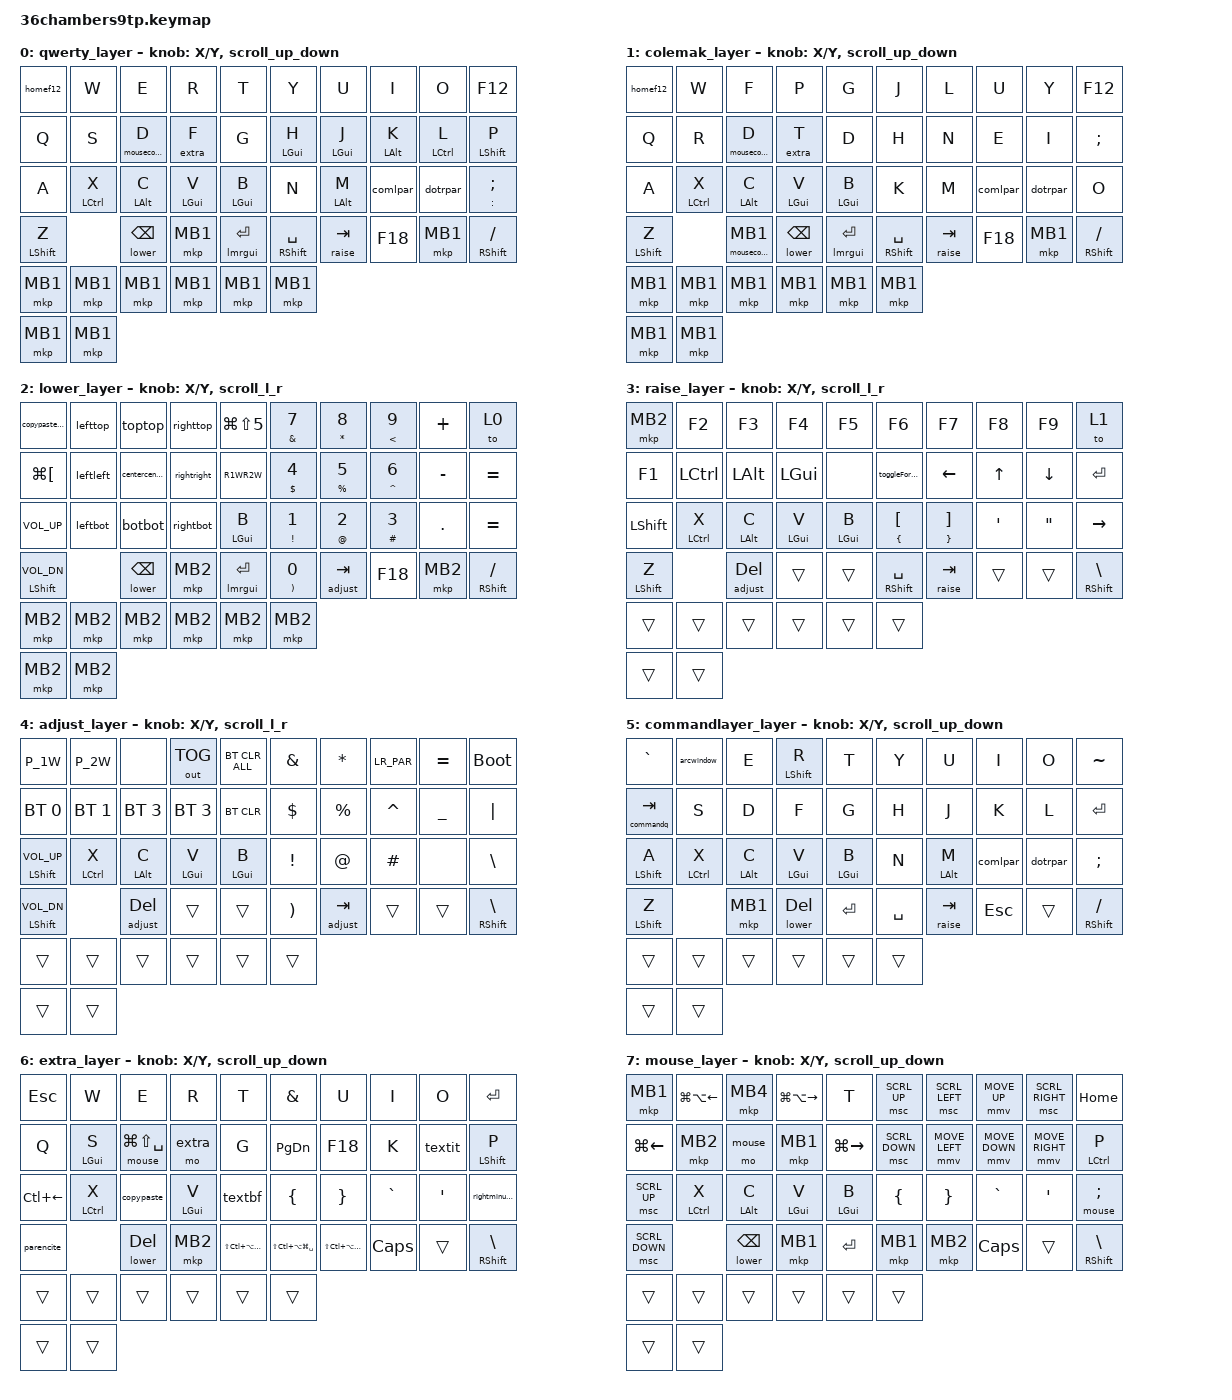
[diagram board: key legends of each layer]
/*
 * Copyright (c) 2020 The ZMK Contributors
 *;
 * SPDX-License-Identifier: MIT


west build -d build/369tpright -p -b xiao_ble//zmk -- -DSHIELD=36chambers9tp_right -DZMK_EXTRA_MODULES="/workspaces/zmk/app/kb_zmk_ps2_mouse_trackpoint_driver-main"
west build -d build/369tpleft -p -b xiao_ble//zmk -- -DSHIELD=36chambers9tp_left -DZMK_EXTRA_MODULES="/workspaces/zmk/app/kb_zmk_ps2_mouse_trackpoint_driver-main"

west build -d build/xiao_ble_reset -p -b xiao_ble//zmk -- -DSHIELD=settings_reset

docker cp gracious_gates:/workspaces/zmk/app/build/369tpleft/zephyr/zmk.uf2 "/Users/song100/Library/Mobile Documents/com~apple~CloudDocs/Keyboard/36firmware/36chambers9tp_left.uf2"
docker cp gracious_gates:/workspaces/zmk/app/build/369tpright/zephyr/zmk.uf2 "/Users/song100/Library/Mobile Documents/com~apple~CloudDocs/Keyboard/36firmware/36chambers9tp_right.uf2"

docker cp gracious_gates:/workspaces/zmk/app/build/xiao_ble_reset/zephyr/zmk.uf2 "/Users/song100/Library/Mobile Documents/com~apple~CloudDocs/Keyboard/36firmware/xiao_ble_reset.uf2"
 */
#include <behaviors.dtsi>w
#include <dt-bindings/zmk/keys.h>
#include <dt-bindings/zmk/bt.h>
#include <dt-bindings/zmk/outputs.h>
#include <dt-bindings/zmk/mouse.h>        
#include <dt-bindings/zmk/pointing.h>

#define qwerty 0
#define colemnk 1
#define lower 2
#define raise 3
#define adjust 4
#define commandlayer 5
#define extra 6
#define mouse 7
// #define cmtoqw 6
// #define lock 7
// #define locklow 8
// #define unlock 9
// #define lockhigh 10/
#define ZMK_POINTING_DEFAULT_MOVE_VAL 3500  // default: 600
#define ZMK_POINTING_DEFAULT_SCRL_VAL 140

&mt {
    tapping-term-ms = <200>;
    flavor = "hold-preferred";
};

&lt {
   flavor = "hold-preferred";
};

/{ // <---[[root node]]    
    macros {
        // |XteZB8Yrdc SBRzu1UX
        P_1W: P_1W {
            label = "P_1W";
            compatible = "zmk,behavior-macro";
            #binding-cells = <0>;
            wait-ms = <0>;
            tap-ms = <0>;
            bindings
                = <&macro_tap &kp PIPE>
                , <&macro_press &kp LSHFT>
                , <&macro_tap &kp X>
                , <&macro_release &kp LSHFT>
                , <&macro_tap &kp T &kp E>
                , <&macro_press &kp LSHFT>
                , <&macro_tap &kp Z &kp B>
                , <&macro_release &kp LSHFT>
                , <&macro_tap &kp N8>
                , <&macro_press &kp LSHFT>
                , <&macro_tap &kp Y>
                , <&macro_release &kp LSHFT>
                , <&macro_tap &kp R &kp D &kp C &kp SPACE>
                , <&macro_press &kp LSHFT>
                , <&macro_tap &kp S &kp B &kp R>
                , <&macro_press &kp LSHFT>
                , <&macro_tap &kp Z &kp U &kp 1>
                , <&macro_press &kp LSHFT>
                , <&macro_tap &kp U &kp X>
                , <&macro_release &kp LSHFT>
                ;
        };
        P_2W: P_2W {
            label = "P_2W";
            compatible = "zmk,behavior-macro";
            #binding-cells = <0>;
            wait-ms = <0>;
            tap-ms = <0>;
            bindings
                = <&macro_tap &kp PIPE>
                , <&macro_press &kp LSHFT>
                , <&macro_tap &kp X>
                , <&macro_release &kp LSHFT>
                , <&macro_tap &kp G &kp F>
                , <&macro_press &kp LSHFT>
                , <&macro_tap &kp Z &kp B>
                , <&macro_release &kp LSHFT>
                , <&macro_tap &kp N8>
                , <&macro_press &kp LSHFT>
                , <&macro_tap &kp J>
                , <&macro_release &kp LSHFT>
                , <&macro_tap &kp P &kp S &kp C &kp SPACE>
                , <&macro_press &kp LSHFT>
                , <&macro_tap &kp R &kp B &kp P>
                , <&macro_press &kp LSHFT>
                , <&macro_tap &kp Z &kp L &kp 1>
                , <&macro_press &kp LSHFT>
                , <&macro_tap &kp L &kp X>
                , <&macro_release &kp LSHFT>
                ;
        };
        R_1W: R_1W {
            label = "R_1W";
            compatible = "zmk,behavior-macro";
            #binding-cells = <0>;
            wait-ms = <0>;
            tap-ms = <0>;
            bindings
                = <&macro_press &kp LSHFT>
                , <&macro_tap &kp S>
                , <&macro_release &kp LSHFT>
                , <&macro_tap &kp H &kp A &kp W &kp U &kp A &kp J &kp Y &kp D &kp S &kp N>
                ;
        };
        R_2W: R_2W {
            label = "R_2W";
            compatible = "zmk,behavior-macro";
            #binding-cells = <0>;
            wait-ms = <5>;
            tap-ms = <10>;
            bindings
                = <&macro_tap &kp PIPE>
                , <&macro_press &kp LSHFT>
                , <&macro_tap &kp X>
                , <&macro_release &kp LSHFT>
                , <&macro_tap &kp T &kp E>
                , <&macro_press &kp LSHFT>
                , <&macro_tap &kp Z &kp B>
                , <&macro_release &kp LSHFT>
                , <&macro_tap &kp N8>
                , <&macro_press &kp LSHFT>
                , <&macro_tap &kp Y>
                , <&macro_release &kp LSHFT>
                , <&macro_tap &kp R &kp D &kp C &kp SPACE>
                , <&macro_press &kp LSHFT>
                , <&macro_tap &kp S &kp B &kp R>
                , <&macro_release &kp LSHFT>
                , <&macro_tap &kp Z &kp U &kp 1>
                ;
        };
        textit: textit {
            label = "textit";
            compatible = "zmk,behavior-macro";
            #binding-cells = <0>;
            wait-ms = <20>;
            tap-ms = <10>;
            bindings
                = <&macro_tap 
                &kp LBRC &kp LEFT &kp LEFT
                &kp BSLH &kp F &kp K &kp X &kp F &kp L &kp F>
                ,<&macro_press &kp LALT>
                ,<&macro_tap &kp RIGHT &kp RIGHT>
                ,<&macro_release &kp LALT>
                ;
        };
        textbf: textbf {
            label = "textbf";
            compatible = "zmk,behavior-macro";
            #binding-cells = <0>;
            wait-ms = <20>;
            tap-ms = <10>;
            bindings
                = <&macro_tap 
                &kp LBRC &kp LEFT &kp LEFT
                &kp BSLH &kp F &kp K &kp X &kp F &kp B &kp E>
                ,<&macro_press 
                &kp LALT>
                ,<&macro_tap 
                &kp RIGHT &kp RIGHT>
                ,<&macro_release 
                &kp LALT>
                ;
        };
        LR_PAR: LR_PAR {
            label = "LR_PAR";
            compatible = "zmk,behavior-macro";
            #binding-cells = <0>;
            wait-ms = <40>;
            tap-ms = <40>;
            bindings
                = <&macro_press &kp LSHFT>
                , <&macro_tap &kp N9 &kp N0>
                , <&macro_release &kp LSHFT>
                , <&macro_tap &kp LEFT>
                ;
        };
        lmrgui: lmrgui {
            label = "lmrgui";
            compatible = "zmk,behavior-macro";
            wait-ms = <0>;
            tap-ms = <0>;
            #binding-cells = <0>;
            bindings
                = <&macro_press &mo commandlayer &kp RGUI>
                , <&macro_pause_for_release>
                , <&macro_release &mo commandlayer &kp RGUI>
                ;
        };
        mousecombo: mousecombo {
            label = "mousecombo";
            compatible = "zmk,behavior-macro";
            wait-ms = <0>;
            tap-ms = <0>;
            #binding-cells = <0>;
            bindings
                = <&macro_press &kp LGUI &kp LSHFT> 
                , <&macro_tap &kp SPACE>
                , <&macro_release &kp LGUI &kp LSHFT>
                , <&macro_press &mo mouse>
                , <&macro_pause_for_release>
                , <&macro_release &mo mouse>
                ;
        };
        parencite: parencite {
            label = "parencite";
            compatible = "zmk,behavior-macro";
            #binding-cells = <0>;
            wait-ms = <10>;
            tap-ms = <20>;
            bindings
                = <&macro_tap &kp BSLH &kp R &kp A &kp S &kp K &kp J &kp C &kp L &kp F &kp K>
                , <&macro_tap &kp LBKT &kp RBKT  &kp LBRC &kp RBRC &kp LEFT &kp LEFT &kp LBKT &kp RBKT &kp RIGHT &kp RIGHT>
                ;
        };
        // \(\beta\)
        beta: beta {
            label = "beta";
            compatible = "zmk,behavior-macro";
            #binding-cells = <0>;
            wait-ms = <10>;
            tap-ms = <30>;
            bindings
                = <&macro_tap &kp BSLH &kp LPAR &kp BSLH &kp B &kp K &kp J &kp A &kp BSLH &kp RPAR>
                ;
        };
        // ($R^2_{adj}$
        radjsq: radjsq {
            label = "radjsq";
            compatible = "zmk,behavior-macro";
            #binding-cells = <0>;
            wait-ms = <10>;
            tap-ms = <30>;
            bindings
                = <&macro_tap &kp LPAR &kp DLLR>
                , <&macro_press &kp RSHFT> 
                , <&kp S>
                , <&macro_release &kp RSHFT>
                , <&kp AMPS &kp UNDER &kp LBRC &kp A &kp G &kp Y &kp RBRC &kp DLLR>
                ;
        };
        topthirds: topthirds {
            label = "topthirds";
            compatible = "zmk,behavior-macro";
            #binding-cells = <0>;
            wait-ms = <10>;
            tap-ms = <30>;
            bindings
                = <&macro_press &kp LSHFT>
                , <&macro_press &kp LCTL>
                , <&macro_press &kp LALT>
                , <&macro_press &kp LGUI>
                , <&macro_tap &kp N8 &kp F4>
                , <&macro_release &kp LSHFT>
                , <&macro_release &kp LCTL>
                , <&macro_release &kp LALT>
                , <&macro_release &kp LGUI>
                ;
        };
        botthirds: botthirds {
            label = "botthirds";
            compatible = "zmk,behavior-macro";
            #binding-cells = <0>;
            wait-ms = <10>;
            tap-ms = <30>;
            bindings
                = <&macro_press &kp LSHFT>
                , <&macro_press &kp LCTL>
                , <&macro_press &kp LALT>
                , <&macro_press &kp LGUI>
                , <&macro_tap &kp N5 &kp F6>
                , <&macro_release &kp LSHFT>
                , <&macro_release &kp LCTL>
                , <&macro_release &kp LALT>
                , <&macro_release &kp LGUI>
                ;
        };
        centerthirds: centerthirds {
            label = "centerthirds";
            compatible = "zmk,behavior-macro";
            #binding-cells = <0>;
            wait-ms = <10>;
            tap-ms = <30>;
            bindings
                = <&macro_press &kp LSHFT>
                , <&macro_press &kp LCTL>
                , <&macro_press &kp LALT>
                , <&macro_press &kp LGUI>
                , <&macro_tap &kp N2 &kp F5>
                , <&macro_release &kp LSHFT>
                , <&macro_release &kp LCTL>
                , <&macro_release &kp LALT>
                , <&macro_release &kp LGUI>
                ;
        };
        leftthirds: leftthirds {
            label = "leftthirds";
            compatible = "zmk,behavior-macro";
            #binding-cells = <0>;
            wait-ms = <10>;
            tap-ms = <30>;
            bindings
                = <&macro_press &kp LSHFT>
                , <&macro_press &kp LCTL>
                , <&macro_press &kp LALT>
                , <&macro_press &kp LGUI>
                , <&macro_tap &kp N1 &kp M>
                , <&macro_release &kp LSHFT>
                , <&macro_release &kp LCTL>
                , <&macro_release &kp LALT>
                , <&macro_release &kp LGUI>
                ;
        };
        rightthirds: rightthirds {
            label = "rightthirds";
            compatible = "zmk,behavior-macro";
            #binding-cells = <0>;
            wait-ms = <10>;
            tap-ms = <30>;
            bindings
                = <&macro_press &kp LSHFT>
                , <&macro_press &kp LCTL>
                , <&macro_press &kp LALT>
                , <&macro_press &kp LGUI>
                , <&macro_tap &kp N3 &kp M>
                , <&macro_release &kp LSHFT>
                , <&macro_release &kp LCTL>
                , <&macro_release &kp LALT>
                , <&macro_release &kp LGUI>
                ;
        };
        rightminusgt: rightminusgt {
            label = "rightminusgt";
            compatible = "zmk,behavior-macro";
            #binding-cells = <0>;
            wait-ms = <10>;
            tap-ms = <30>;
            bindings
                = <&macro_tap &kp MINUS &kp GT>
                ;
        };
        copypastelink: copypastelink {
            label = "copypastelink";
            compatible = "zmk,behavior-macro";
            #binding-cells = <0>;
            wait-ms = <10>;
            tap-ms = <30>;
            bindings
                = <&macro_press &kp LGUI>
                , <&macro_tap &kp U &kp C &kp TAB>
                , <&macro_release &kp LGUI>
                , <&macro_press &kp LGUI>
                , <&macro_tap &kp F>
                , <&macro_wait_time 50>
                , <&macro_tap &kp V>
                , <&macro_release &kp LGUI>
                , <&macro_tap &kp RET>
                ;
        };
        ultimateback: ultimateback {
            label = "ultimateback";
            compatible = "zmk,behavior-macro";
            #binding-cells = <0>;
            wait-ms = <0>;
            tap-ms = <30>;
            bindings
                = <&macro_press &kp LGUI>
                , <&macro_tap &kp LBKT>
                , <&macro_release &kp LGUI>
                , <&macro_tap &kp K_BACK>
                ;
        };
        commandq: commandq {
            label = "commandq";
            compatible = "zmk,behavior-macro";
            #binding-cells = <0>;
            wait-ms = <0>;
            tap-ms = <30>;
            bindings
                = <&macro_press &kp LGUI>
                , <&macro_tap &kp Q>
                , <&macro_release &kp LGUI>
                ;
        };
    };
    behaviors {
        gresc: grave_escape {
            compatible = "zmk,behavior-mod-morph";
            #binding-cells = <0>;
            bindings = <&kp ESC>, <&kp GRAVE>;
            mods = <(MOD_RGUI|MOD_LSFT|MOD_LALT|MOD_LCTL)>;
        };
        mnl: mouse_n_language {
            compatible = "zmk,behavior-hold-tap";
            label = "MOUSE_MODS";
            #binding-cells = <2>;
            tapping-term-ms = <350>;
            quick-tap-ms = <0>;
            flavor = "tap-preferred";
            bindings = <&mo>, <&kp>;
        };
        bhm: balanced_homerow_mods {
            compatible = "zmk,behavior-hold-tap";
            label = "HOMEROW_MODS";
            #binding-cells = <2>;
            tapping-term-ms = <250>;    // <---[[moderate duration]]
            quick-tap-ms = <0>;
            flavor = "balanced";
            bindings = <&kp>, <&kp>;
        };
        tns: tap_number_symbols {
            compatible = "zmk,behavior-hold-tap";
            label = "NUM_SYMBOLS";
            #binding-cells = <2>;
            tapping-term-ms = <250>;    // <---[[moderate duration]]
            quick-tap-ms = <0>;
            flavor = "tap-preferred";
            bindings = <&kp>, <&kp>;
        };//the following two go together
        comlpar: comma_parenthesis {
            compatible = "zmk,behavior-mod-morph";
            label = "COMMA_LPARENTH";
            #binding-cells = <0>;
            bindings = <&kp COMMA>, <&kp LPAR>;
            mods = <(MOD_RSFT)>;
        };
        dotrpar: dot_parenthesis {
            compatible = "zmk,behavior-mod-morph";
            label = "DOT_RPARENTH";
            #binding-cells = <0>;
            bindings = <&kp DOT>, <&kp RPAR>;
            mods = <(MOD_RSFT)>;
        };//the following two go together        
        comlrpar: comma_parentheses {
            compatible = "zmk,behavior-mod-morph";
            label = "COMMA_BOTHPARENTH";
            #binding-cells = <0>;
            bindings = <&kp COMMA>, <&LR_PAR>;
            mods = <(MOD_RSFT)>;
        };
        dotqmark: dot_qmark {
            compatible = "zmk,behavior-mod-morph";
            label = "DOT_QMARK";
            #binding-cells = <0>;
            bindings = <&kp DOT>, <&kp QMARK>;
            mods = <(MOD_RSFT)>;
        };
        // qtab: q_cmdandtab {
        //     compatible = "zmk,behavior-mod-morph";
        //     label = "Q_CMDANDTAB";
        //     #binding-cells = <0>;
        //     bindings = <&kp Q>, <&kp LG(TAB)>;
        //     mods = <(MOD_LGUI)>;
        // };
        qtab2: qtab2 {
            compatible = "zmk,behavior-hold-tap";
            label = "Q_CMDANDTAB2";
            #binding-cells = <2>;
            flavor = "tap-preferred";
            tapping-term-ms = <250>;
            global-quick-tap;
            bindings = <&commandq>, <&kp>;
        };
        tabgui: tabandgui {
            compatible = "zmk,behavior-hold-tap";
            label = "TAB_GUI";
            #binding-cells = <2>;
            flavor = "hold-preferred";
            tapping-term-ms = <200>;
            quick-tap-ms = <125>;
            global-quick-tap;
            bindings = <&lmrgui>, <&kp>;
        };
        dmousecombo: dmousecombo {
            compatible = "zmk,behavior-hold-tap";
            label = "D_MCOMBO";
            #binding-cells = <2>;
            flavor = "tap-preferred";
            tapping-term-ms = <200>;
            quick-tap-ms = <125>;
            global-quick-tap;
            bindings = <&mousecombo>, <&kp>;
        };
        dmousecombo2: dmousecombo2 {
            compatible = "zmk,behavior-hold-tap";
            label = "D_MCOMBO2";
            #binding-cells = <2>;
            flavor = "tap-preferred";
            tapping-term-ms = <200>;
            quick-tap-ms = <125>;
            global-quick-tap;
            bindings = <&mousecombo>, <&mkp>;
        };
        copypaste: copypaste {
            compatible = "zmk,behavior-tap-dance";
            #binding-cells = <0>;
            tapping-term-ms = <200>;
            bindings = <&kp LG(C)>, <&kp LG(V)>, <&kp LG(V)>;
        };
        // td_mt_bspc: tap_dance_layer_tap {
        //     compatible = "zmk,behavior-tap-dance";
        //     #binding-cells = <0>;
        //     tapping-term-ms = <150>;
        //     bindings = <&lt lower BSPC>, <&kp BSPC>;
        // };
        // td_mtt_spc: tap_dance_layer_tap {
        //     compatible = "zmk,behavior-tap-dance";
        //     #binding-cells = <0>;
        //     tapping-term-ms = <150>;
        //     bindings = <&mt LSHFT SPACE>, <&kp SPACE>;
        // };
        qlt: quick_layer_tap {
            compatible = "zmk,behavior-hold-tap";
            #binding-cells = <2>;
            tapping-term-ms = <200>;
            quick-tap-ms = <200>;
            flavor = "hold-preferred";
            bindings = <&mo>, <&kp>;
        };
        qmt: quick_mod_tap {
            compatible = "zmk,behavior-hold-tap";
            #binding-cells = <2>;
            tapping-term-ms = <200>;
            quick-tap-ms = <200>;
            flavor = "hold-preferred";
            bindings = <&kp>, <&kp>;
        };
        wintop: window_top {
            compatible = "zmk,behavior-tap-dance";
            #binding-cells = <0>;
            tapping-term-ms = <150>;
            bindings = <&kp LC(LA(UP))>, <&kp BSPC>;
        };
        scroll_up_down: behavior_sensor_rotate_mouse_wheel_up_down {
	        compatible = "zmk,behavior-sensor-rotate";
	        #sensor-binding-cells = <0>;
            bindings = <&msc SCRL_DOWN>, <&msc SCRL_UP>;
            tap-ms = <20>;
        };
        scroll_l_r: behavior_sensor_rotate_mouse_wheel_left_right {
	        compatible = "zmk,behavior-sensor-rotate";
	        #sensor-binding-cells = <0>;
            bindings = <&msc SCRL_RIGHT>, <&msc SCRL_LEFT>;
            tap-ms = <20>;
        };
        homef12: homef12 {
            compatible = "zmk,behavior-tap-dance";
            #binding-cells = <0>;
            tapping-term-ms = <200>;
            bindings = <&kp ESC>, <&ultimateback>, <&kp F12>;
        };
        lefttop: lefttop {
            compatible = "zmk,behavior-tap-dance";
            #binding-cells = <0>;
            tapping-term-ms = <200>;
            bindings = <&kp LC(LA(LG(PG_UP)))>, <&kp LS(LC(LA(LG(N7))))>;
        };
        righttop: righttop {
            compatible = "zmk,behavior-tap-dance";
            #binding-cells = <0>;
            tapping-term-ms = <200>;
            bindings = <&kp LC(LA(LG(HOME)))>, <&kp LS(LC(LA(LG(N9))))>;
        };
        leftbot: leftbot {
            compatible = "zmk,behavior-tap-dance";
            #binding-cells = <0>;
            tapping-term-ms = <200>;
            bindings = <&kp LC(LA(LG(PG_DN)))>, <&kp LS(LC(LA(LG(N4))))>;
        };
        rightbot: rightbot {
            compatible = "zmk,behavior-tap-dance";
            #binding-cells = <0>;
            tapping-term-ms = <200>;
            bindings = <&kp LC(LA(LG(END)))>, <&kp LS(LC(LA(LG(N6))))>;
        };
        toptop: toptop {
            compatible = "zmk,behavior-tap-dance";
            #binding-cells = <0>;
            tapping-term-ms = <200>;
            bindings = <&kp LC(LA(UP))>, <&topthirds>, <&kp LS(LC(LA(LG(F7))))>;
        };
        botbot: botbot {
            compatible = "zmk,behavior-tap-dance";
            #binding-cells = <0>;
            tapping-term-ms = <200>;
            bindings = <&kp LC(LA(DOWN))>, <&botthirds>, <&kp LS(LC(LA(LG(F9))))>;
        };
        leftleft: leftleft {
            compatible = "zmk,behavior-tap-dance";
            #binding-cells = <0>;
            tapping-term-ms = <200>;
            bindings = <&kp LC(LA(LEFT))>, <&kp LS(LC(LA(LG(N1))))>,  <&kp LS(LC(LA(LG(F1))))>;
        };
        rightright: rightright {
            compatible = "zmk,behavior-tap-dance";
            #binding-cells = <0>;
            tapping-term-ms = <200>;
            bindings = <&kp LC(LA(RIGHT))>, <&kp LS(LC(LA(LG(N3))))>, <&kp LS(LC(LA(LG(F2))))>;
        };
        centercenter: centercenter {
            compatible = "zmk,behavior-tap-dance";
            #binding-cells = <0>;
            tapping-term-ms = <200>;
            bindings = <&kp LC(LA(RET))>, <&centerthirds>, <&kp LS(LC(LA(LG(F3))))>;
        };
        R1WR2W: R1WR2W {
            compatible = "zmk,behavior-tap-dance";
            #binding-cells = <0>;
            tapping-term-ms = <200>;
            bindings = <&R_1W>, <&R_1W>, <&R_2W>;
        };
        arcwindow: arcwindow {
            compatible = "zmk,behavior-tap-dance";
            #binding-cells = <0>;
            tapping-term-ms = <200>;
            bindings = <&kp LG(W)>, <&kp LS(LG(W))>;
        };
        toggleForkLift: toggleForkLift {
            compatible = "zmk,behavior-tap-dance";
            #binding-cells = <0>;
            tapping-term-ms = <200>;
            bindings = <&kp LC(LG(1))>, <&kp LC(LG(5))>, <&kp LC(LG(6))>;//name, modified, size
        };
    };
    combos {
        compatible = "zmk,combos";
        combo_SCROLLUP {
            timeout-ms = <50>;
            key-positions = <3 13>;
            bindings = <&msc SCRL_UP>;
        };
        combo_SCROLLDN {
            timeout-ms = <50>;
            key-positions = <13 23>;
            bindings = <&msc SCRL_DOWN>;
        };
        combo_BACK {
            timeout-ms = <50>;
            key-positions = <10 20>;
            bindings = <&kp LG(LBKT)>;
        };
        combo_D {
            timeout-ms = <15>;
            key-positions = <20 12 34>;
            bindings = <&kp D>;
        };
        combo_Z {
            timeout-ms = <15>;
            key-positions = <20 34>;
            bindings = <&kp Z>;
        };
        combo_X {
            timeout-ms = <15>;
            key-positions = <11 34>;
            bindings = <&kp X>;
        };
        combo_C {
            timeout-ms = <15>;
            key-positions = <12 34>;
            bindings = <&kp C>;
        };
        combo_V {
            timeout-ms = <15>;
            key-positions = <13 34>;
            bindings = <&kp V>;
        };
        combo_B {
            timeout-ms = <15>;
            key-positions = <20 13 34>;
            bindings = <&kp B>;
        };
        combo_Q {
            timeout-ms = <15>;
            key-positions = <20 13>;
            bindings = <&kp Q>;
        };
        combo_W {
            timeout-ms = <15>;
            key-positions = <20 11>;
            bindings = <&kp W>;
        };
        combo_F {
            timeout-ms = <15>;
            key-positions = <11 12>;
            bindings = <&kp F>;
        };
        combo_P {
            timeout-ms = <15>;
            key-positions = <12 13>;
            bindings = <&kp P>;
        };
        combo_G {
            timeout-ms = <15>;
            key-positions = <20 11 34>;
            bindings = <&kp G>;
        };
        combo_LENTER {
            timeout-ms = <15>;
            key-positions = <11 12 13 34>;
            bindings = <&kp RET>;
        };
        combo_LSPACE {
            timeout-ms = <15>;
            key-positions = <20 11 12 13>;
            bindings = <&kp SPACE>;
        };
        combo_LBSPC {
            timeout-ms = <15>;
            key-positions = <11 12 13>;
            bindings = <&kp BSPC>;
        };
        combo_LESC {
            timeout-ms = <15>;
            key-positions = <20 11 13>;
            bindings = <&kp ESC>;
        };
        // righthand 35 16 17 18 29
        combo_J {
            timeout-ms = <15>;
            key-positions = <35 18 29>;
            bindings = <&kp J>;
        };
        combo_L {
            timeout-ms = <15>;
            key-positions = <16 17>;
            bindings = <&kp L>;
        };
        combo_U {
            timeout-ms = <15>;
            key-positions = <17 18>;
            bindings = <&kp U>;
        };
        combo_Y {
            timeout-ms = <15>;
            key-positions = <18 29>;
            bindings = <&kp Y>;
        };
        combo_SEMI {
            timeout-ms = <15>;
            key-positions = <16 29>;
            bindings = <&kp SEMI>;
        };
        combo_H {
            timeout-ms = <15>;
            key-positions = <35 17 29>;
            bindings = <&kp H>;
        };
        combo_K {
            timeout-ms = <15>;
            key-positions = <16 29>;
            bindings = <&kp K>;
        };
        combo_M {
            timeout-ms = <15>;
            key-positions = <16 17 18>;
            bindings = <&kp M>;
        };
        combo_COMMA{
            timeout-ms = <15>;
            key-positions = <17 18 29>;
            bindings = <&kp N>;
        };
        combo_PERIOD {
            timeout-ms = <15>;
            key-positions = <16 29>;
            bindings = <&kp PERIOD>;
        };
        combo_QUESTION {
            timeout-ms = <15>;
            key-positions = <35 29>;
            bindings = <&kp QMARK>;
        };
        combo_RENTER {
            timeout-ms = <15>;
            key-positions = <35 17 18 29>;
            bindings = <&kp RET>;
        };
        combo_RSPACE {
            timeout-ms = <15>;
            key-positions = <35 16 17 18 29>;
            bindings = <&kp SPACE>;
        };
        combo_RBSPC {
            timeout-ms = <15>;
            key-positions = <16 17 18 29>;
            bindings = <&kp BSPC>;
        };
        combo_RESC {
            timeout-ms = <15>;
            key-positions = <17 29>;
            bindings = <&kp ESC>;
        };
        combo_RTAB {
            timeout-ms = <15>;
            key-positions = <16 17 18>;
            bindings = <&kp TAB>;
        };
        combo_LANG {
            timeout-ms = <15>;
            key-positions = <13 16>;
            bindings = <&kp F18>;
        };
    };
};

/{
    keymap {
        compatible = "zmk,keymap";

        qwerty_layer {
            bindings = <    
    &homef12        &kp W           &kp E               &kp R               &kp T           &kp Y               &kp U               &kp I           &kp O               &kp F12
    &kp Q           &kp S           &dmousecombo 0 D        &mnl extra F        &kp G           &bhm LGUI H         &bhm LGUI J         &bhm LALT K     &bhm LCTL L         &bhm LSHFT P
    &kp A           &bhm LCTRL X    &bhm LALT C         &bhm LGUI V         &bhm LGUI B     &kp N               &bhm LALT M         &comlpar        &dotrpar            &tns COLON SEMI
    &bhm LSHFT Z                    &qlt lower BSPC &mkp MB1      &tabgui 0 RET   &tns RSHFT SPACE    &lt raise TAB       &kp F18         &mkp MB1            &mt RSHFT FSLH
    &mkp MB1        &mkp MB1       &mkp MB1            &mkp MB1            &mkp MB1        &mkp MB1
    &mkp MB1        &mkp MB1 
                >;
            sensor-bindings = <&inc_dec_kp X Y &scroll_up_down>;
        };
        colemak_layer {
            bindings = <
    &homef12        &kp W           &kp F               &kp P               &kp G           &kp J               &kp L               &kp U           &kp Y               &kp F12
    &kp Q           &kp R           &dmousecombo 0 D        &mnl extra T        &kp D           &kp H               &kp N               &kp E           &kp I               &kp SEMI
    &kp A           &bhm LCTRL X    &bhm LALT C         &bhm LGUI V         &bhm LGUI B     &kp K               &kp M               &comlpar        &dotrpar            &kp O      
    &bhm LSHFT Z                    &dmousecombo2 0 MB1 &qlt lower BSPC     &tabgui 0 RET   &tns RSHFT SPACE    &lt raise TAB       &kp F18         &mkp MB1            &mt RSHFT FSLH
    &mkp MB1        &mkp MB1        &mkp MB1            &mkp MB1            &mkp MB1        &mkp MB1 
    &mkp MB1        &mkp MB1
                 >;
sensor-bindings = <&inc_dec_kp X Y &scroll_up_down>;
        };
        lower_layer {
            bindings = <
    &copypastelink  &lefttop        &toptop             &righttop           &kp LG(LS(N5))  &tns AMPS N7        &tns ASTRK N8       &tns LT N9      &kp PLUS            &to 0 
    &kp LG(LBKT)    &leftleft       &centercenter       &rightright         &R1WR2W         &tns DLLR N4        &tns PRCNT N5       &tns CARET N6   &kp MINUS           &kp EQUAL
    &kp C_VOL_UP    &leftbot        &botbot             &rightbot           &bhm LGUI B     &tns EXCL N1        &tns AT N2          &tns POUND N3   &kp DOT             &kp EQUAL
    &bhm LSHFT C_VOL_DN                   &qlt lower BSPC  &mkp MB2                &tabgui 0 RET   &tns RPAR N0        &lt adjust TAB      &kp F18         &mkp MB2            &mt RSHFT FSLH
    &mkp MB2        &mkp MB2       &mkp MB2            &mkp MB2            &mkp MB2        &mkp MB2
    &mkp MB2        &mkp MB2 
    >;
sensor-bindings = <&inc_dec_kp X Y &scroll_l_r>;
        };
        raise_layer {
            bindings = <
    &mkp MB2        &kp F2          &kp F3              &kp F4              &kp F5          &kp F6              &kp F7              &kp F8          &kp F9              &to 1
    &kp F1          &kp LCTL        &kp LALT            &kp LGUI            &none           &toggleForkLift     &kp LEFT            &kp UP          &kp DOWN            &kp RET
    &kp LSHFT       &bhm LCTRL X    &bhm LALT C         &bhm LGUI V         &bhm LGUI B     &tns LBRC LBKT      &tns RBRC RBKT      &kp SQT         &kp DQT             &kp RIGHT
    &bhm LSHFT Z                    &qlt adjust DEL &trans                  &trans          &tns RSHFT SPACE    &lt raise TAB       &trans          &trans              &mt RSHFT BSLH
    &trans          &trans          &trans              &trans              &trans          &trans 
    &trans          &trans
    >;
sensor-bindings = <&inc_dec_kp X Y &scroll_l_r>;
        };
        adjust_layer {
            bindings = <
    &P_1W           &P_2W           &none               &out OUT_TOG        &bt BT_CLR_ALL  &kp AMPS            &kp ASTRK           &LR_PAR         &kp EQUAL           &bootloader
    &bt BT_SEL 0    &bt BT_SEL 1    &bt BT_SEL 3        &bt BT_SEL 3        &bt BT_CLR      &kp DLLR            &kp PRCNT           &kp CARET       &kp UNDER           &kp PIPE
    &bhm LSHFT C_VOL_UP &bhm LCTRL X &bhm LALT C        &bhm LGUI V         &bhm LGUI B     &kp EXCL            &kp AT              &kp POUND       &none               &kp BSLH
    &bhm LSHFT C_VOL_DN             &qlt adjust DEL &trans                  &trans          &kp RPAR            &lt adjust TAB      &trans          &trans              &mt RSHFT BSLH
    &trans          &trans          &trans              &trans              &trans          &trans 
    &trans          &trans
    >;
            sensor-bindings = <&inc_dec_kp X Y &scroll_l_r>;    
        };
        commandlayer_layer {
            bindings = <
    &kp GRAVE       &arcwindow      &kp E               &bhm LSHFT R        &kp T           &kp Y               &kp U               &kp I           &kp O               &kp TILDE
    &qtab2 0 TAB    &kp S           &kp D               &kp F               &kp G           &kp H               &kp J               &kp K           &kp L               &kp RET
    &bhm LSHFT A    &bhm LCTRL X    &bhm LALT C         &bhm LGUI V         &bhm LGUI B     &kp N               &bhm LALT M         &comlpar        &dotrpar            &kp SEMI
    &bhm LSHFT Z                    &mkp MB1            &qlt lower DEL      &kp RET         &kp SPACE           &lt raise TAB       &kp ESC         &trans              &mt RSHFT FSLH
    &trans          &trans          &trans              &trans              &trans          &trans 
    &trans          &trans
    >;
sensor-bindings = <&inc_dec_kp X Y &scroll_up_down>;
        };
        extra_layer {
            bindings = <
    &kp ESC         &kp W           &kp E               &kp R               &kp T           &kp AMPS            &kp U               &kp I           &kp O               &kp RET
    &kp Q           &bhm LGUI S     &mt mouse LG(LS(SPACE)) &mo extra       &kp G           &kp PG_DN           &kp F18             &kp K           &textit             &bhm LSHFT P 
    &kp LC(LEFT)    &bhm LCTRL X    &copypaste          &bhm LGUI V         &textbf         &kp LBRC            &kp RBRC            &kp GRAVE       &kp SQT             &rightminusgt      
    &parencite                      &qlt lower DEL &mkp MB2                  &kp LS(LC(LA(LG(RET)))) &kp LS(LC(LA(LG(SPACE)))) &kp LS(LC(LA(LG(TAB)))) &kp CAPS  &trans              &mt RSHFT BSLH
    &trans          &trans          &trans              &trans              &trans          &trans 
    &trans          &trans
                >;
sensor-bindings = <&inc_dec_kp X Y &scroll_up_down>;
        };
        mouse_layer {
            bindings = <
    &mkp MB1        &kp LG(LA(LEFT)) &mkp MB4           &kp LG(LA(RIGHT))   &kp T           &msc SCRL_UP        &msc SCRL_LEFT      &mmv MOVE_UP    &msc SCRL_RIGHT     &kp HOME
    &kp LG(LEFT)    &mkp MB2        &mo mouse           &mkp MB1            &kp LG(RIGHT)   &msc SCRL_DOWN      &mmv MOVE_LEFT      &mmv MOVE_DOWN  &mmv MOVE_RIGHT     &bhm LCTL P
    &msc SCRL_UP    &bhm LCTRL X    &bhm LALT C         &bhm LGUI V         &bhm LGUI B     &kp LBRC            &kp RBRC            &kp GRAVE       &kp SQT             &mnl mouse SEMI      
    &msc SCRL_DOWN                  &qlt lower BSPC &mkp MB1                   &kp RET         &mkp MB1            &mkp MB2            &kp CAPS        &trans              &mt RSHFT BSLH
    &trans          &trans          &trans              &trans              &trans          &trans 
    &trans          &trans
                >;
sensor-bindings = <&inc_dec_kp X Y &scroll_up_down>;
        };
    };
};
